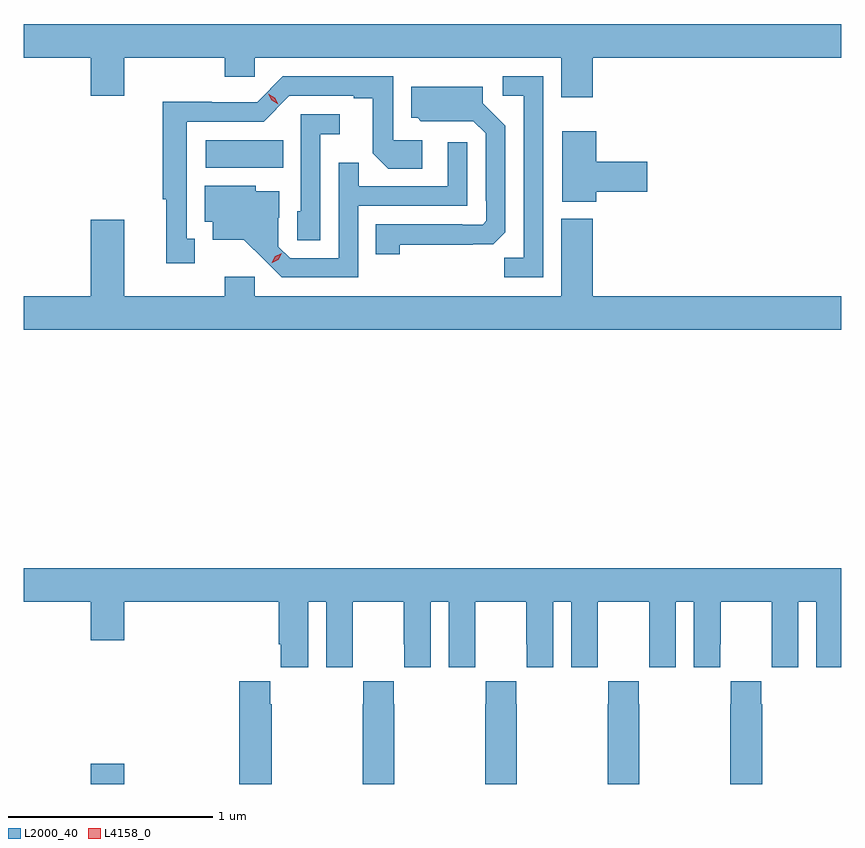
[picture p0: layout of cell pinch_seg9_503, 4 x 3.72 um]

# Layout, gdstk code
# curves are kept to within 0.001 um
import gdstk
lib = gdstk.Library(unit=1e-6, precision=1e-09)
def R(c, l, rs):  # rectangles x0, y0, x1, y1
    for r in rs: c.add(gdstk.rectangle(r[:2], r[2:], *l))
def P(c, l, *ps):  # polygons
    for p in ps: c.add(gdstk.Polygon(p, *l))
L2000_40 = (2000, 40)
L4158_0 = (4158, 0)

pinch_seg9_503 = lib.new_cell('pinch_seg9_503')
R(pinch_seg9_503, L2000_40, [(308.864,1194.196,309.028,1194.295), (309.426,1197.212,309.806,1197.346)])
P(pinch_seg9_503, L2000_40, [(311.321,1197.752),(312.537,1197.752),(312.537,1197.916),(308.537,1197.916),(308.537,1197.752),(308.864,1197.752),(308.864,1197.564),(309.028,1197.564),(309.028,1197.752),(309.52,1197.752),(309.52,1197.659),(309.666,1197.659),(309.666,1197.752),(311.168,1197.752),(311.168,1197.558),(311.321,1197.558)],
  [(311.079,1197.66),(310.881,1197.66),(310.881,1197.564),(310.983,1197.564),(310.983,1196.771),(310.888,1196.771),(310.888,1196.676),(311.079,1196.676)],
  [(309.373,1196.865),(309.334,1196.865),(309.334,1197.438),(309.711,1197.438),(309.837,1197.564),(310.151,1197.564),(310.151,1197.552),(310.245,1197.552),(310.245,1197.284),(310.321,1197.208),(310.486,1197.208),(310.486,1197.348),(310.344,1197.348),(310.344,1197.66),(309.804,1197.66),(309.678,1197.534),(309.456,1197.534),(309.456,1197.536),(309.216,1197.536),(309.216,1197.057),(309.233,1197.057),(309.233,1196.745),(309.373,1196.745)],
  [(310.377,1196.836),(310.834,1196.837),(310.893,1196.896),(310.893,1197.418),(310.783,1197.528),(310.783,1197.61),(310.433,1197.61),(310.433,1197.456),(310.464,1197.456),(310.48,1197.44),(310.737,1197.441),(310.797,1197.381),(310.797,1197.052),(310.8,1197.052),(310.8,1196.952),(310.782,1196.934),(310.682,1196.934),(310.682,1196.937),(310.258,1196.937),(310.258,1196.79),(310.377,1196.79)],
  [(309.987,1197.377),(310.084,1197.377),(310.084,1197.474),(309.891,1197.474),(309.891,1197),(309.876,1197),(309.876,1196.857),(309.987,1196.857)],
  [(311.338,1197.095),(311.587,1197.095),(311.587,1197.242),(311.338,1197.242),(311.338,1197.391),(311.171,1197.391),(311.171,1197.047),(311.338,1197.047)],
  [(310.173,1197.027),(310.707,1197.027),(310.707,1197.337),(310.611,1197.337),(310.611,1197.123),(310.175,1197.123),(310.175,1197.236),(310.077,1197.236),(310.077,1196.769),(309.84,1196.769),(309.783,1196.826),(309.783,1196.968),(309.787,1196.968),(309.787,1197.097),(309.672,1197.097),(309.672,1197.124),(309.422,1197.124),(309.422,1196.948),(309.461,1196.948),(309.461,1196.861),(309.613,1196.861),(309.8,1196.676),(310.173,1196.676)],
  [(312.537,1196.584),(311.321,1196.584),(311.321,1196.962),(311.168,1196.962),(311.168,1196.584),(309.666,1196.584),(309.666,1196.68),(309.52,1196.68),(309.52,1196.584),(309.028,1196.584),(309.028,1196.959),(308.864,1196.959),(308.864,1196.584),(308.537,1196.584),(308.537,1196.42),(312.537,1196.42)],
  [(308.537,1195.088),(308.864,1195.088),(308.864,1194.9),(309.028,1194.9),(309.028,1195.088),(309.785,1195.088),(309.785,1194.88),(309.794,1194.88),(309.794,1194.768),(309.928,1194.768),(309.928,1195.088),(310.016,1195.088),(310.016,1194.768),(310.146,1194.768),(310.146,1194.88),(310.147,1194.88),(310.147,1195.088),(310.397,1195.088),(310.397,1194.88),(310.398,1194.88),(310.398,1194.768),(310.528,1194.768),(310.528,1195.088),(310.616,1195.088),(310.616,1194.768),(310.746,1194.768),(310.746,1194.88),(310.747,1194.88),(310.747,1195.088),(310.997,1195.088),(310.997,1194.88),(310.998,1194.88),(310.998,1194.768),(311.128,1194.768),(311.128,1195.088),(311.216,1195.088),(311.216,1194.768),(311.346,1194.768),(311.346,1194.88),(311.347,1194.88),(311.347,1195.088),(311.597,1195.088),(311.597,1194.88),(311.598,1194.88),(311.598,1194.768),(311.728,1194.768),(311.728,1195.088),(311.816,1195.088),(311.816,1194.768),(311.946,1194.768),(311.946,1194.88),(311.947,1194.88),(311.947,1195.088),(312.197,1195.088),(312.197,1194.88),(312.198,1194.88),(312.198,1194.768),(312.328,1194.768),(312.328,1195.088),(312.416,1195.088),(312.416,1194.768),(312.537,1194.768),(312.537,1195.252),(308.537,1195.252)],
  [(312.15,1194.587),(312.147,1194.587),(312.147,1194.7),(311.997,1194.7),(311.997,1194.587),(311.995,1194.587),(311.995,1194.196),(312.15,1194.196)],
  [(311.55,1194.587),(311.547,1194.587),(311.547,1194.7),(311.397,1194.7),(311.397,1194.587),(311.395,1194.587),(311.395,1194.196),(311.55,1194.196)],
  [(310.95,1194.587),(310.947,1194.587),(310.947,1194.7),(310.797,1194.7),(310.797,1194.587),(310.795,1194.587),(310.795,1194.196),(310.95,1194.196)],
  [(310.35,1194.587),(310.347,1194.587),(310.347,1194.7),(310.197,1194.7),(310.197,1194.587),(310.195,1194.587),(310.195,1194.196),(310.35,1194.196)],
  [(309.75,1194.587),(309.743,1194.587),(309.743,1194.7),(309.59,1194.7),(309.59,1194.196),(309.75,1194.196)])
P(pinch_seg9_503, L4158_0, [(309.751,1196.748),(309.751,1196.748),(309.768,1196.778),(309.799,1196.793),(309.799,1196.793),(309.799,1196.793),(309.782,1196.763),(309.752,1196.748)],
  [(309.782,1197.523),(309.75,1197.542),(309.733,1197.574),(309.733,1197.574),(309.733,1197.574),(309.765,1197.556),(309.782,1197.523),(309.782,1197.523)])

lib.write_gds('pinch_seg9_503.gds')
